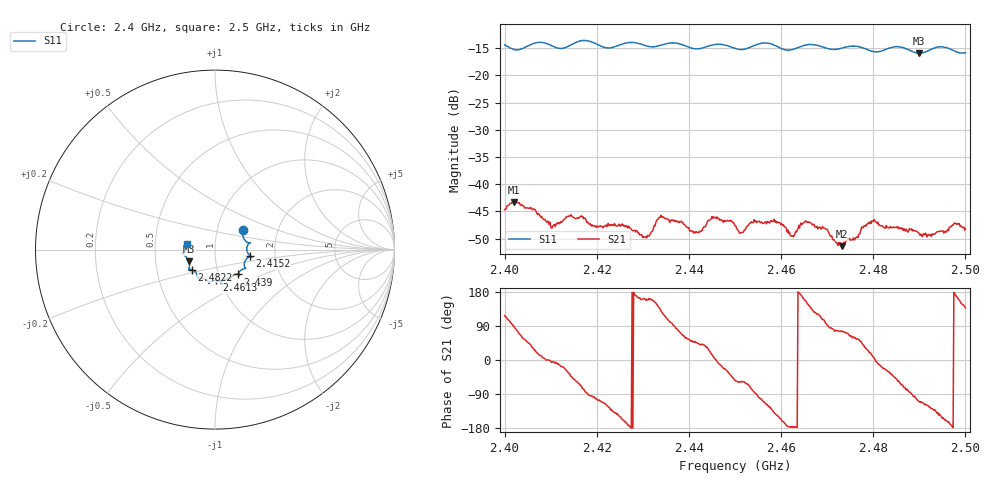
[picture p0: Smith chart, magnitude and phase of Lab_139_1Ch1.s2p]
# Hz S RI R 50
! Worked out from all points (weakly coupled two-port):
!   601 points, 2.4 GHz to 2.5 GHz, reference 50 ohm
!   highest |S21| = -43.26 dB at 2.402 GHz (marker M1); lowest = -51.4 dB at 2.4732 GHz (marker M2)
!   lowest |S11| = -15.9 dB at 2.4898 GHz (marker M3), VSWR 1.38, Z = 37 - j5.03 ohm
!   |S11| at or under -10 dB: start of sweep to end of sweep
!   S12 and S22 are empty: the file has one direction only
!   S11 on the Smith chart (normalised r, x): 2.4 GHz: 1.33, +0.31; 2.4152 GHz: 1.48, -0.11; 2.439 GHz: 1.24, -0.36; 2.4613 GHz: 0.96, -0.34; 2.4822 GHz: 0.76, -0.17; 2.5 GHz: 0.73, +0.05
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2.4e9  0.1559 0.1106  -0.00267 0.00518  0 0  0 0
2.402e9  0.1552 0.0773  6.58e-06 0.00687  0 0  0 0
2.4105e9  0.1834 0.0273  0.00412 -0.000379  0 0  0 0
2.415167e9  0.195 -0.0361  0.00301 -0.00382  0 0  0 0
2.416667e9  0.2046 -0.0421  0.00179 -0.0048  0 0  0 0
2.430333e9  0.1547 -0.1096  -0.00309 0.00102  0 0  0 0
2.433333e9  0.1322 -0.1321  -0.00365 0.00305  0 0  0 0
2.439e9  0.1282 -0.1384  0.00207 0.00372  0 0  0 0
2.441833e9  0.1004 -0.1439  0.00258 0.00252  0 0  0 0
2.4455e9  0.0848 -0.1724  0.00492 0.00053  0 0  0 0
2.45e9  0.0688 -0.1638  0.00249 -0.00333  0 0  0 0
2.451333e9  0.053 -0.1647  0.00193 -0.00302  0 0  0 0
2.458333e9  0.0377 -0.1879  -0.00333 -0.00309  0 0  0 0
2.461333e9  0.0072 -0.1707  -0.00361 -0.000315  0 0  0 0
2.4625e9  -0.0101 -0.173  -0.00334 -0.000234  0 0  0 0
2.466667e9  -0.0335 -0.1898  -0.00296 0.00312  0 0  0 0
2.473167e9  -0.0789 -0.16  0.00062 0.00262  0 0  0 0
2.479833e9  -0.1055 -0.1288  0.00448 0.000791  0 0  0 0
2.482167e9  -0.1281 -0.1119  0.00372 -0.00158  0 0  0 0
2.483333e9  -0.1394 -0.1103  0.00341 -0.00208  0 0  0 0
2.489833e9  -0.1457 -0.0662  -0.00114 -0.00337  0 0  0 0
2.5e9  -0.1584 0.034  -0.00288 0.00264  0 0  0 0
